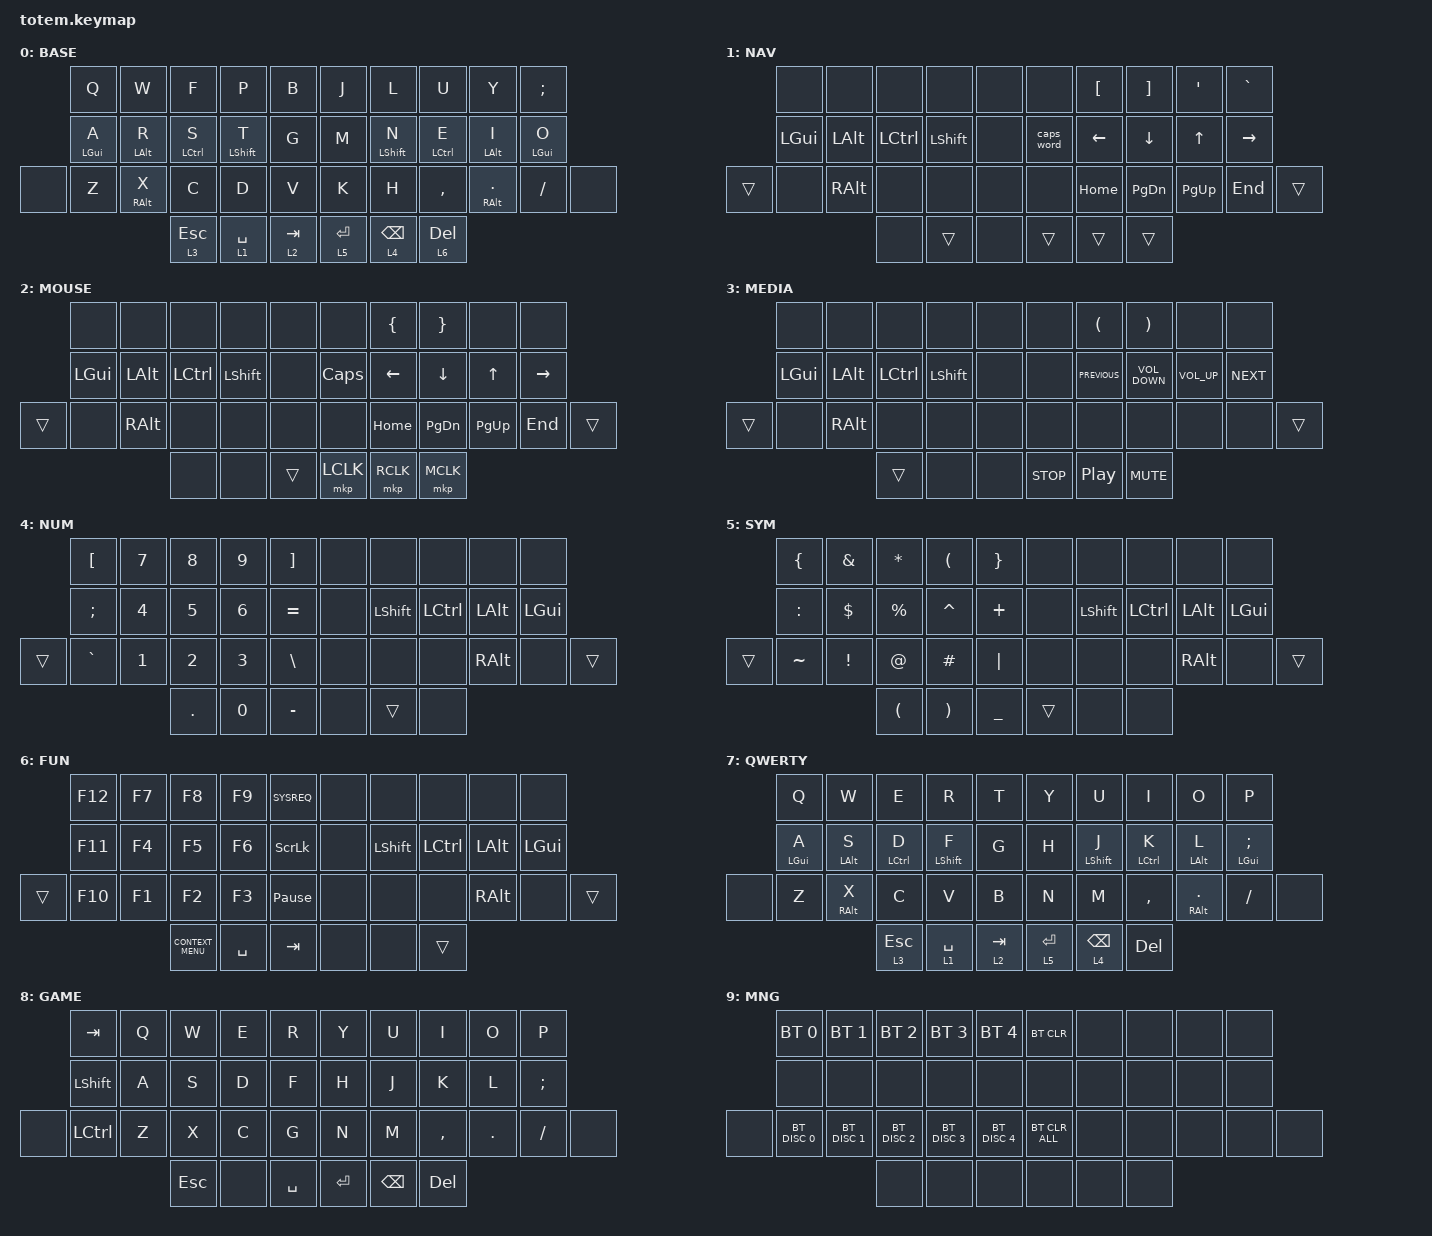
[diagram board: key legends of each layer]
//
//                                                        ▀▀▀▀▀     ▀▀▀▀▀          ▀▀█▀▀
//                                                        ▄▀▀▀▄  ▄  ▄▀▀▀▄  ▄  ▄▀▀▀▄  █  ▄▀▀▀▄
//                                                        █   █  █  █   █  █  █   █  █  █   █
//                                                         ▀▀▀   █   ▀▀▀   █   ▀▀▀   ▀   ▀▀▀
//                                                               █      ▄▄▄█▄▄▄    █   █  
//                                                               ▀      █  █  █     █▄█
//                                                             ▀▀▀▀▀    █  █  █      ▀
//                                                                      ▀  ▀  ▀
//
// ▄▄▄▄▄▄▄▄▄▄▄▄▄▄▄▄▄▄▄▄▄▄▄▄▄▄▄▄▄▄▄▄▄▄▄▄▄▄▄▄▄▄▄▄▄▄▄▄▄▄▄▄▄▄▄▄▄▄▄▄▄▄▄▄▄▄▄▄▄▄▄▄▄▄▄▄▄▄▄▄▄▄▄▄▄▄▄▄▄▄▄▄▄▄▄▄▄▄▄▄▄▄▄▄▄▄▄▄▄▄▄▄▄▄▄▄▄▄▄▄▄▄▄▄▄▄▄▄▄▄▄▄▄▄▄▄▄▄▄▄▄▄▄▄▄▄▄▄▄

#include <behaviors.dtsi>
#include <dt-bindings/zmk/bt.h>
#include <dt-bindings/zmk/keys.h>
#include <dt-bindings/zmk/mouse.h>

#define BASE 0
#define NAV  1
#define SYM  2
#define ADJ  3
#define TVP1 4
#define TVP2 5

&mt {
    quick-tap-ms = <100>;
    global-quick-tap;
    flavor = "tap-preferred";
    tapping-term-ms = <200>;
};

/ {
    combos {
        compatible = "zmk,combos";

        qwerty {
            bindings = <&tog 7>;
            key-positions = <33 36>;
            layers = <0 7>;
        };

        game {
            bindings = <&tog 8>;
            key-positions = <5 4>;
            layers = <0 8>;
        };

        manage {
            bindings = <&mo 9>;
            key-positions = <37 32>;
            layers = <0 9>;
        };
    };

    keymap {
        compatible = "zmk,keymap";

        // ▄▄▄▄▄▄▄▄▄▄▄▄▄▄▄▄▄▄▄▄▄▄▄▄▄▄▄▄▄▄▄▄▄▄▄▄▄▄▄▄▄▄▄▄▄▄▄▄▄▄▄▄▄▄▄▄▄▄▄▄▄▄▄▄▄▄▄▄▄▄▄▄▄▄▄▄▄▄▄▄▄▄▄▄▄▄▄▄▄▄▄▄▄▄▄▄▄▄▄▄▄▄▄▄▄▄▄▄▄▄▄▄▄▄▄▄▄▄▄▄▄▄▄▄▄▄▄▄▄▄▄▄▄▄▄▄▄▄▄▄▄▄▄▄▄▄▄▄▄

        base_layer {
            // ┏━━━━━━━━━━━━━━━━━━━━━━━━━━━━━━━━━━━━━━━┓

            label = "BASE";

            // ┗━━━━━━━━━━━━━━━━━━━━━━━━━━━━━━━━━━━━━━━┛
            //             ┏━━━━━━━━━━━┳━━━━━━━━━━━┳━━━━━━━━━━━┳━━━━━━━━━━━┳━━━━━━━━━━━┓   ┏━━━━━━━━━━━┳━━━━━━━━━━━┳━━━━━━━━━━━┳━━━━━━━━━━━┳━━━━━━━━━━━┓
            //             ┃     Q     ┃     W     ┃     F     ┃     P     ┃     G     ┃   ┃     J     ┃     L     ┃     U     ┃     Y     ┃     ;     ┃
            //             ┣━━━━━━━━━━━╋━━━━━━━━━━━╋━━━━━━━━━━━╋━━━━━━━━━━━╋━━━━━━━━━━━┫   ┣━━━━━━━━━━━╋━━━━━━━━━━━╋━━━━━━━━━━━╋━━━━━━━━━━━╋━━━━━━━━━━━┫
            //             ┃     A     ┃     R     ┃     S     ┃     T     ┃     D     ┃   ┃     H     ┃     N     ┃     E     ┃     I     ┃     O     ┃
            // ┏━━━━━━━━━━━╋━━━━━━━━━━━╋━━━━━━━━━━━╋━━━━━━━━━━━╋━━━━━━━━━━━╋━━━━━━━━━━━┫   ┣━━━━━━━━━━━╋━━━━━━━━━━━╋━━━━━━━━━━━╋━━━━━━━━━━━╋━━━━━━━━━━━╋━━━━━━━━━━━┓
            // ┃     Q     ┃     Z     ┃     X     ┃     C     ┃     V     ┃     B     ┃   ┃     K     ┃     M     ┃     ,     ┃     .     ┃     /     ┃     \     ┃
            // ┗━━━━━━━━━━━┻━━━━━━━━━━━┻━━━━━━━━━━━╋━━━━━━━━━━━╋━━━━━━━━━━━╋━━━━━━━━━━━┫   ┣━━━━━━━━━━━╋━━━━━━━━━━━╋━━━━━━━━━━━╋━━━━━━━━━━━┻━━━━━━━━━━━┻━━━━━━━━━━━┛
            //                                     ┃    DEL    ┃    TAB    ┃    SPC    ┃   ┃   ENTER   ┃           ┃   BSPC    ┃
            //                                     ┗━━━━━━━━━━━┻━━━━━━━━━━━┻━━━━━━━━━━━┛   ┗━━━━━━━━━━━┻━━━━━━━━━━━┻━━━━━━━━━━━┛

            bindings = <
       &kp Q       &kp W            &kp F         &kp P        &kp B        &kp J        &kp L             &kp U         &kp Y                 &kp SEMI
       &mt LGUI A  &mt LALT R       &mt LCTRL S   &mt LSHFT T  &kp G        &kp M        &mt LEFT_SHIFT N  &mt LCTRL E   &mt LEFT_ALT I        &mt LEFT_GUI O
&none  &kp Z       &mt RIGHT_ALT X  &kp C         &kp D        &kp V        &kp K        &kp H             &kp COMMA     &mt RIGHT_ALT PERIOD  &kp FSLH        &none
                                    &lt 3 ESCAPE  &lt 1 SPACE  &lt 2 TAB    &lt 5 ENTER  &lt 4 BACKSPACE   &lt 6 DELETE
            >;
        };

        nav_layer {
            // ┏━━━━━━━━━━━━━━━━━━━━━━━━━━━━━━━━━━━━━━━┓

            label = "NAV";

            // ┗━━━━━━━━━━━━━━━━━━━━━━━━━━━━━━━━━━━━━━━┛
            //             ┏━━━━━━━━━━━┳━━━━━━━━━━━┳━━━━━━━━━━━┳━━━━━━━━━━━┳━━━━━━━━━━━┓   ┏━━━━━━━━━━━┳━━━━━━━━━━━┳━━━━━━━━━━━┳━━━━━━━━━━━┳━━━━━━━━━━━┓
            //             ┃           ┃           ┃     UP    ┃           ┃     {     ┃   ┃     }     ┃     7     ┃     8     ┃     9     ┃     +     ┃
            //             ┣━━━━━━━━━━━╋━━━━━━━━━━━╋━━━━━━━━━━━╋━━━━━━━━━━━╋━━━━━━━━━━━┫   ┣━━━━━━━━━━━╋━━━━━━━━━━━╋━━━━━━━━━━━╋━━━━━━━━━━━╋━━━━━━━━━━━┫
            //             ┃   SHIFT   ┃   LEFT    ┃    DOWN   ┃   RIGHT   ┃     [     ┃   ┃     ]     ┃     4     ┃     5     ┃     6     ┃     -     ┃
            // ┏━━━━━━━━━━━╋━━━━━━━━━━━╋━━━━━━━━━━━╋━━━━━━━━━━━╋━━━━━━━━━━━╋━━━━━━━━━━━┫   ┣━━━━━━━━━━━╋━━━━━━━━━━━╋━━━━━━━━━━━╋━━━━━━━━━━━╋━━━━━━━━━━━╋━━━━━━━━━━━┓
            // ┃           ┃           ┃   P UP    ┃  C LOCK   ┃  P DOWN   ┃     (     ┃   ┃     )     ┃     1     ┃     2     ┃     3     ┃     *     ┃           ┃
            // ┗━━━━━━━━━━━┻━━━━━━━━━━━┻━━━━━━━━━━━╋━━━━━━━━━━━╋━━━━━━━━━━━╋━━━━━━━━━━━┫   ┣━━━━━━━━━━━╋━━━━━━━━━━━╋━━━━━━━━━━━╋━━━━━━━━━━━┻━━━━━━━━━━━┻━━━━━━━━━━━┛
            //                                     ┃           ┃    TAB    ┃    SPC    ┃   ┃    DEL    ┃     0     ┃           ┃
            //                                     ┗━━━━━━━━━━━┻━━━━━━━━━━━┻━━━━━━━━━━━┛   ┗━━━━━━━━━━━┻━━━━━━━━━━━┻━━━━━━━━━━━┛

            bindings = <
        &none         &none          &none      &none           &none    &none       &kp LEFT_BRACKET  &kp RIGHT_BRACKET  &kp SINGLE_QUOTE  &kp GRAVE
        &kp LEFT_GUI  &kp LEFT_ALT   &kp LCTRL  &kp LEFT_SHIFT  &none    &caps_word  &kp LEFT_ARROW    &kp DOWN_ARROW     &kp UP_ARROW      &kp RIGHT_ARROW
&trans  &none         &kp RIGHT_ALT  &none      &none           &none    &none       &kp HOME          &kp PAGE_DOWN      &kp PAGE_UP       &kp END          &trans
                                     &none      &trans          &none    &trans      &trans            &trans
            >;
        };

        mouse_layer {
            label = "MOUSE";
            bindings = <
        &none         &none          &none      &none           &none     &none         &kp LEFT_BRACE  &kp RIGHT_BRACE  &none         &none
        &kp LEFT_GUI  &kp LEFT_ALT   &kp LCTRL  &kp LEFT_SHIFT  &none     &kp CAPSLOCK  &kp LEFT_ARROW  &kp DOWN_ARROW   &kp UP_ARROW  &kp RIGHT_ARROW
&trans  &none         &kp RIGHT_ALT  &none      &none           &none     &none         &kp HOME        &kp PAGE_DOWN    &kp PAGE_UP   &kp END          &trans
                                     &none      &none           &trans    &mkp LCLK     &mkp RCLK       &mkp MCLK
            >;
        };

        media_layer {
            label = "MEDIA";
            bindings = <
        &none         &none          &none      &none           &none    &none       &kp LEFT_PARENTHESIS  &kp RIGHT_PARENTHESIS  &none            &none
        &kp LEFT_GUI  &kp LEFT_ALT   &kp LCTRL  &kp LEFT_SHIFT  &none    &none       &kp C_PREVIOUS        &kp C_VOLUME_DOWN      &kp C_VOLUME_UP  &kp C_NEXT
&trans  &none         &kp RIGHT_ALT  &none      &none           &none    &none       &none                 &none                  &none            &none       &trans
                                     &trans     &none           &none    &kp C_STOP  &kp C_PLAY_PAUSE      &kp C_MUTE
            >;
        };

        number_layer {
            // ┏━━━━━━━━━━━━━━━━━━━━━━━━━━━━━━━━━━━━━━━┓

            label = "NUM";

            // ┗━━━━━━━━━━━━━━━━━━━━━━━━━━━━━━━━━━━━━━━┛
            //             ┏━━━━━━━━━━━┳━━━━━━━━━━━┳━━━━━━━━━━━┳━━━━━━━━━━━┳━━━━━━━━━━━┓   ┏━━━━━━━━━━━┳━━━━━━━━━━━┳━━━━━━━━━━━┳━━━━━━━━━━━┳━━━━━━━━━━━┓
            //             ┃   RESET   ┃ BT CLEAR  ┃  OUT TOG  ┃           ┃           ┃   ┃           ┃    F7     ┃    F8     ┃    F9     ┃    F12    ┃
            //             ┣━━━━━━━━━━━╋━━━━━━━━━━━╋━━━━━━━━━━━╋━━━━━━━━━━━╋━━━━━━━━━━━┫   ┣━━━━━━━━━━━╋━━━━━━━━━━━╋━━━━━━━━━━━╋━━━━━━━━━━━╋━━━━━━━━━━━┫
            //             ┃ BOOTLOAD  ┃ BT NEXT   ┃           ┃           ┃           ┃   ┃           ┃    F4     ┃    F5     ┃    F6     ┃    F11    ┃
            // ┏━━━━━━━━━━━╋━━━━━━━━━━━╋━━━━━━━━━━━╋━━━━━━━━━━━╋━━━━━━━━━━━╋━━━━━━━━━━━┫   ┣━━━━━━━━━━━╋━━━━━━━━━━━╋━━━━━━━━━━━╋━━━━━━━━━━━╋━━━━━━━━━━━╋━━━━━━━━━━━┓
            // ┃           ┃           ┃ BT PREV   ┃           ┃           ┃           ┃   ┃           ┃    F1     ┃    F2     ┃    F3     ┃    F10    ┃           ┃
            // ┗━━━━━━━━━━━┻━━━━━━━━━━━┻━━━━━━━━━━━╋━━━━━━━━━━━╋━━━━━━━━━━━╋━━━━━━━━━━━┫   ┣━━━━━━━━━━━╋━━━━━━━━━━━╋━━━━━━━━━━━╋━━━━━━━━━━━┻━━━━━━━━━━━┻━━━━━━━━━━━┛
            //                                     ┃           ┃           ┃           ┃   ┃           ┃           ┃           ┃
            //                                     ┗━━━━━━━━━━━┻━━━━━━━━━━━┻━━━━━━━━━━━┛   ┗━━━━━━━━━━━┻━━━━━━━━━━━┻━━━━━━━━━━━┛

            bindings = <
        &kp LEFT_BRACKET  &kp NUMBER_7  &kp NUMBER_8  &kp NUMBER_9  &kp RIGHT_BRACKET    &none  &none           &none      &none          &none
        &kp SEMICOLON     &kp NUMBER_4  &kp NUMBER_5  &kp NUMBER_6  &kp EQUAL            &none  &kp LEFT_SHIFT  &kp LCTRL  &kp LEFT_ALT   &kp LEFT_GUI
&trans  &kp GRAVE         &kp NUMBER_1  &kp NUMBER_2  &kp NUMBER_3  &kp BACKSLASH        &none  &none           &none      &kp RIGHT_ALT  &none         &trans
                                        &kp PERIOD    &kp NUMBER_0  &kp MINUS            &none  &trans          &none
            >;
        };

        symbol_layer {
            label = "SYM";
            bindings = <
        &kp LEFT_BRACE  &kp AMPERSAND    &kp ASTERISK          &kp LEFT_PARENTHESIS   &kp RIGHT_BRACE    &none   &none           &none      &none          &none
        &kp COLON       &kp DOLLAR       &kp PERCENT           &kp CARET              &kp PLUS           &none   &kp LEFT_SHIFT  &kp LCTRL  &kp LEFT_ALT   &kp LEFT_GUI
&trans  &kp TILDE       &kp EXCLAMATION  &kp AT_SIGN           &kp HASH               &kp PIPE           &none   &none           &none      &kp RIGHT_ALT  &none         &trans
                                         &kp LEFT_PARENTHESIS  &kp RIGHT_PARENTHESIS  &kp UNDERSCORE     &trans  &none           &none
            >;
        };

        function_layer {
            label = "FUN";
            bindings = <
        &kp F12  &kp F7  &kp F8              &kp F9     &kp SYSREQ         &none  &none           &none      &none          &none
        &kp F11  &kp F4  &kp F5              &kp F6     &kp SCROLLLOCK     &none  &kp LEFT_SHIFT  &kp LCTRL  &kp LEFT_ALT   &kp LEFT_GUI
&trans  &kp F10  &kp F1  &kp F2              &kp F3     &kp PAUSE_BREAK    &none  &none           &none      &kp RIGHT_ALT  &none         &trans
                         &kp K_CONTEXT_MENU  &kp SPACE  &kp TAB            &none  &none           &trans
            >;
        };

        qwerty_layer {
            label = "QWERTY";
            bindings = <
       &kp Q       &kp W            &kp E         &kp R        &kp T        &kp Y        &kp U             &kp I        &kp O                 &kp P
       &mt LGUI A  &mt LALT S       &mt LCTRL D   &mt LSHFT F  &kp G        &kp H        &mt LEFT_SHIFT J  &mt LCTRL K  &mt LEFT_ALT L        &mt LEFT_GUI SEMICOLON
&none  &kp Z       &mt RIGHT_ALT X  &kp C         &kp V        &kp B        &kp N        &kp M             &kp COMMA    &mt RIGHT_ALT PERIOD  &kp FSLH                &none
                                    &lt 3 ESCAPE  &lt 1 SPACE  &lt 2 TAB    &lt 5 ENTER  &lt 4 BACKSPACE   &kp DELETE
            >;
        };

        game_layer {
            label = "GAME";
            bindings = <
       &kp TAB           &kp Q  &kp W       &kp E  &kp R        &kp Y      &kp U          &kp I       &kp O       &kp P
       &kp LEFT_SHIFT    &kp A  &kp S       &kp D  &kp F        &kp H      &kp J          &kp K       &kp L       &kp SEMICOLON
&none  &kp LEFT_CONTROL  &kp Z  &kp X       &kp C  &kp G        &kp N      &kp M          &kp COMMA   &kp PERIOD  &kp FSLH       &none
                                &kp ESCAPE  &none  &kp SPACE    &kp ENTER  &kp BACKSPACE  &kp DELETE
            >;
        };

        manage_layer {
            bindings = <
       &bt BT_SEL 0   &bt BT_SEL 1   &bt BT_SEL 2   &bt BT_SEL 3   &bt BT_SEL 4     &bt BT_CLR      &none  &none  &none  &none
       &none          &none          &none          &none          &none            &none           &none  &none  &none  &none
&none  &bt BT_DISC 0  &bt BT_DISC 1  &bt BT_DISC 2  &bt BT_DISC 3  &bt BT_DISC 4    &bt BT_CLR_ALL  &none  &none  &none  &none  &none
                                     &none          &none          &none            &none           &none  &none
            >;

            label = "MNG";
        };
    };
};
